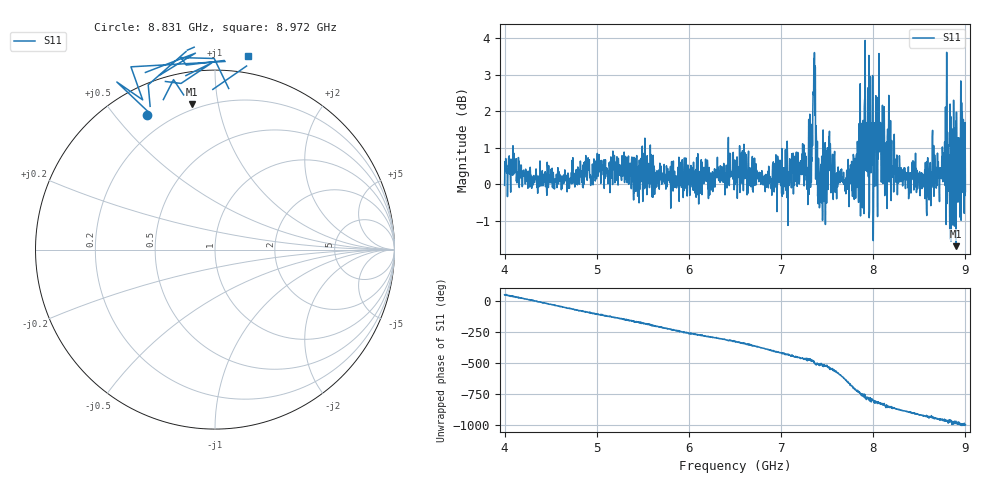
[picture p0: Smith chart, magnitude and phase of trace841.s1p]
! Created with skrf 1.8.0 (http://scikit-rf.org).
# Hz S RI R 50.0
!freq ReS11 ImS11
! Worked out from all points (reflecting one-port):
!   1601 points, 4 GHz to 9 GHz, reference 50 ohm
!   lowest |S11| = -1.7 dB at 8.9 GHz (marker M1), VSWR 10.27, Z = 8.34 + j41.9 ohm
!   phase of S11 starts at 51 deg and turns -1044 deg over the sweep
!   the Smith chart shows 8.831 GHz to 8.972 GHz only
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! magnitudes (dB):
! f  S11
! 4 GHz  0.0
! 4.625 GHz  -0.1
! 5.25 GHz  0.3
! 5.875 GHz  0.2
! 6.5 GHz  0.2
! 7.125 GHz  0.6
! 7.306 GHz  0.6
! 7.362 GHz  3.6
! 7.4 GHz  0.2
! 7.428 GHz  0.4
! 7.525 GHz  1.4
! 7.612 GHz  -0.1
! 7.75 GHz  0.0
! 7.875 GHz  -0.3
! 7.928 GHz  1.2
! 7.941 GHz  2.6
! 7.969 GHz  2.9
! 7.981 GHz  1.1
! 8.022 GHz  1.0
! 8.075 GHz  1.3
! 8.216 GHz  0.4
! 8.375 GHz  0.1
! 8.6 GHz  -0.4
! 8.816 GHz  -0.2
! 8.844 GHz  -1.6
! 8.9 GHz  -1.7
! 8.972 GHz  0.8
! 9 GHz  -0.2
